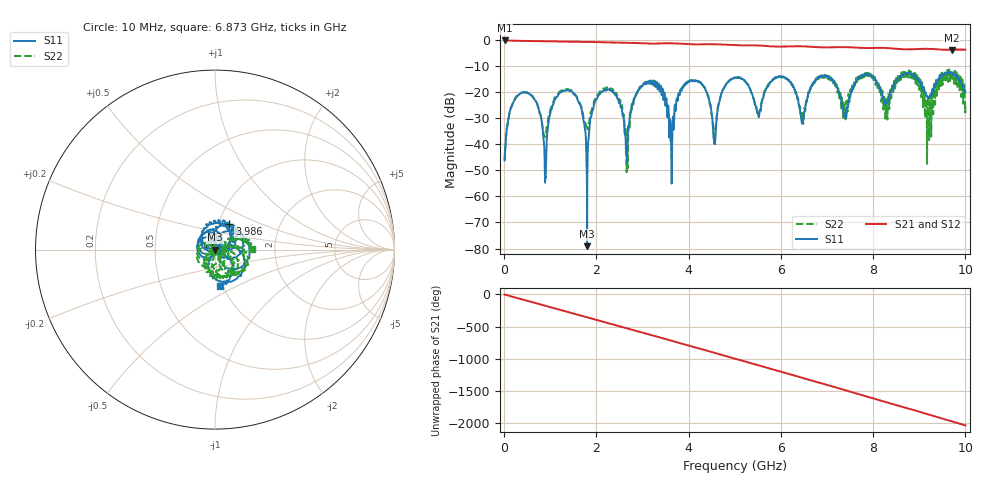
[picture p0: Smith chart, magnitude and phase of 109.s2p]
!Keysight Technologies,E5080B,MY59205177,A.15.75.32
!Date: Friday, February 23, 2024 03:36:37
!Correction: S11(Cdelta 2-Port  )
!S21(Cdelta 2-Port  )
!S12(Cdelta 2-Port  )
!S22(Cdelta 2-Port  )
!S2P File: Measurements: S11, S21, S12, S22:
# Hz S  dB  R 50
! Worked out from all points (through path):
!   10001 points, 10 MHz to 10 GHz, reference 50 ohm
!   highest |S21| = -0.02 dB at 14 MHz (marker M1); lowest = -3.7 dB at 9.701 GHz (marker M2)
!   group delay of S21, straight-line fit = 565 ps
!   lowest |S11| = -79.1 dB at 1.799 GHz (marker M3), VSWR 1.00, Z = 50 - j0.0101 ohm
!   |S11| at or under -10 dB: start of sweep to end of sweep
!   |S22| runs from -50.6 to -11.1 dB; largest |S21 - S12| = 0.0016
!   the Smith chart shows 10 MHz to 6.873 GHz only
!   S11 on the Smith chart (normalised r, x): 10 MHz: 1.01, -0.00; 3.986 GHz: 1.12, +0.33; 6.873 GHz: 0.97, -0.40
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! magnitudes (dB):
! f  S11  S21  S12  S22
! 10 MHz  -46.1  0.0  0.0  -45.9
! 14 MHz  -43.3  0.0  0.0  -45.4
! 374.6 MHz  -20.2  -0.2  -0.2  -20.1
! 888.1 MHz  -54.1  -0.3  -0.3  -36.9
! 1.178 GHz  -20.8  -0.4  -0.4  -20.2
! 1.675 GHz  -26.2  -0.5  -0.5  -25.6
! 1.799 GHz  -79.1  -0.5  -0.5  -33.2
! 2.108 GHz  -19.8  -0.7  -0.7  -19.0
! 2.662 GHz  -46.6  -0.9  -0.9  -43.7
! 2.892 GHz  -19.3  -1.0  -1.0  -20.1
! 3.341 GHz  -17.4  -1.2  -1.2  -17.7
! 3.627 GHz  -47.0  -1.1  -1.1  -42.0
! 3.986 GHz  -15.7  -1.4  -1.4  -16.0
! 4.561 GHz  -39.6  -1.5  -1.5  -38.6
! 5.005 GHz  -14.2  -1.8  -1.8  -14.5
! 6.464 GHz  -31.4  -2.3  -2.3  -27.9
! 6.67 GHz  -17.3  -2.5  -2.5  -17.0
! 6.873 GHz  -13.9  -2.6  -2.6  -13.6
! 7.386 GHz  -29.4  -2.6  -2.6  -26.3
! 8.336 GHz  -22.7  -3.0  -3.0  -21.0
! 9.701 GHz  -12.2  -3.7  -3.7  -13.8
! 10 GHz  -20.0  -3.6  -3.6  -25.4
